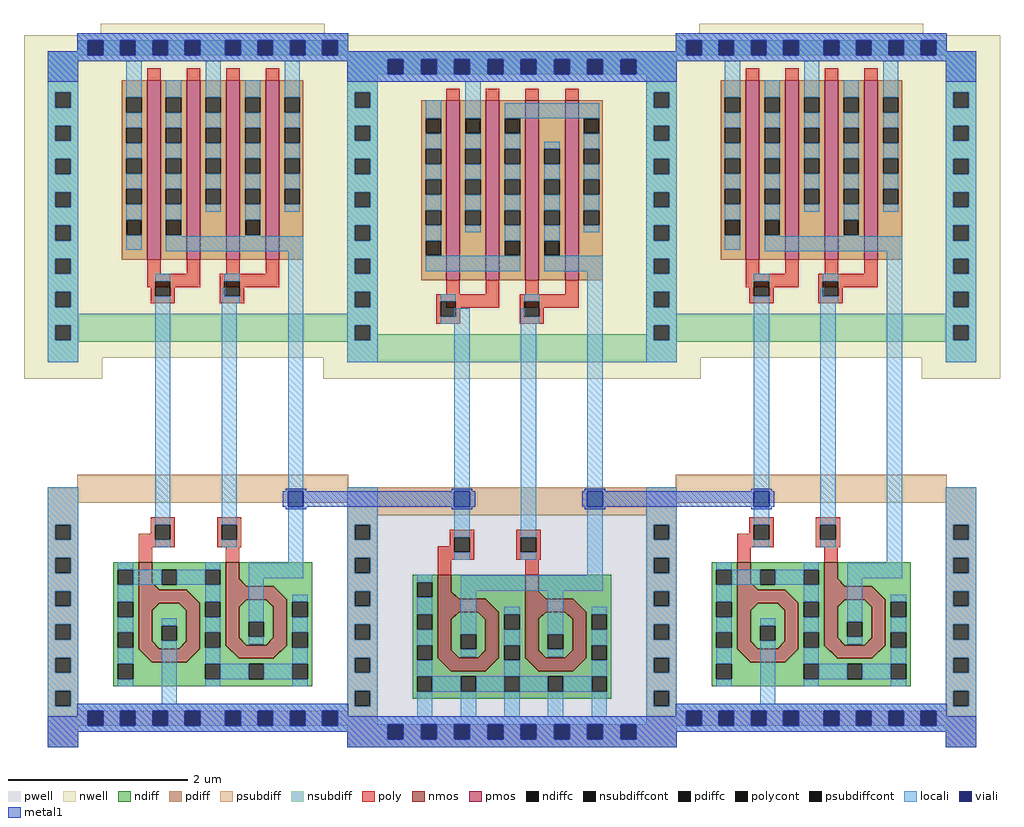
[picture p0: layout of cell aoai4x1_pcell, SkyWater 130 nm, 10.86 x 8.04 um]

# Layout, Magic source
magic
tech sky130A
magscale 1 2
<< metal1 >>
rect 537 501 841 535
rect 1203 501 1512 535
use nor2x1_pcell  nor2x1_pcell_0
transform 1 0 666 0 1 0
box -87 -34 753 1550
use nand2x1_pcell  nand2x1_pcell_1
transform 1 0 1332 0 1 0
box -87 -34 753 1550
use nand2x1_pcell  nand2x1_pcell_0
transform 1 0 0 0 1 0
box -87 -34 753 1550
use li1_M1_contact  li1_M1_contact_0
transform -1 0 518 0 -1 518
box -53 -33 29 33
use li1_M1_contact  li1_M1_contact_1
transform 1 0 888 0 1 518
box -53 -33 29 33
use li1_M1_contact  li1_M1_contact_2
transform -1 0 1184 0 -1 518
box -53 -33 29 33
use li1_M1_contact  li1_M1_contact_3
transform 1 0 1554 0 1 518
box -53 -33 29 33
<< end >>

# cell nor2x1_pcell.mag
magic
tech sky130A
magscale 1 2
<< nwell >>
rect 87 786 579 1550
<< pwell >>
rect 34 -34 632 544
<< pdiffc >>
rect 141 1331 175 1365
rect 229 1331 263 1365
rect 317 1331 351 1365
rect 493 1331 527 1365
rect 141 1059 175 1093
rect 317 1059 351 1093
rect 405 1059 439 1093
<< psubdiff >>
rect 34 482 632 544
rect 34 -17 57 17
rect 91 -17 131 17
rect 165 -17 205 17
rect 239 -17 279 17
rect 313 -17 353 17
rect 387 -17 427 17
rect 461 -17 501 17
rect 535 -17 575 17
rect 609 -17 632 17
rect 34 -34 632 -17
<< nsubdiff >>
rect 34 1497 632 1514
rect 34 1463 57 1497
rect 91 1463 131 1497
rect 165 1463 205 1497
rect 239 1463 279 1497
rect 313 1463 353 1497
rect 387 1463 427 1497
rect 461 1463 501 1497
rect 535 1463 575 1497
rect 609 1463 632 1497
rect 34 822 632 884
<< psubdiffcont >>
rect 57 -17 91 17
rect 131 -17 165 17
rect 205 -17 239 17
rect 279 -17 313 17
rect 353 -17 387 17
rect 427 -17 461 17
rect 501 -17 535 17
rect 575 -17 609 17
<< nsubdiffcont >>
rect 57 1463 91 1497
rect 131 1463 165 1497
rect 205 1463 239 1497
rect 279 1463 313 1497
rect 353 1463 387 1497
rect 427 1463 461 1497
rect 501 1463 535 1497
rect 575 1463 609 1497
<< poly >>
rect 168 375 198 413
rect 362 382 392 383
<< locali >>
rect 34 1497 632 1514
rect 34 1463 57 1497
rect 91 1463 131 1497
rect 165 1463 205 1497
rect 239 1463 279 1497
rect 313 1463 353 1497
rect 387 1463 427 1497
rect 461 1463 501 1497
rect 535 1463 575 1497
rect 609 1463 632 1497
rect 34 1446 632 1463
rect 141 1365 175 1405
rect 141 1313 175 1331
rect 229 1365 263 1446
rect 229 1313 263 1331
rect 317 1365 527 1399
rect 317 1313 351 1331
rect 493 1313 527 1331
rect 141 1093 175 1111
rect 317 1093 351 1111
rect 141 1025 351 1059
rect 405 1093 439 1111
rect 405 1025 535 1059
rect 205 433 239 942
rect 353 908 361 942
rect 353 441 387 908
rect 353 433 357 441
rect 501 348 535 1025
rect 219 314 535 348
rect 219 233 253 314
rect 413 233 447 314
rect 122 34 156 73
rect 219 34 253 89
rect 316 34 350 73
rect 413 34 447 89
rect 510 34 544 73
rect 34 17 632 34
rect 34 -17 57 17
rect 91 -17 131 17
rect 165 -17 205 17
rect 239 -17 279 17
rect 313 -17 353 17
rect 387 -17 427 17
rect 461 -17 501 17
rect 535 -17 575 17
rect 609 -17 632 17
rect 34 -34 632 -17
<< viali >>
rect 57 1463 91 1497
rect 131 1463 165 1497
rect 205 1463 239 1497
rect 279 1463 313 1497
rect 353 1463 387 1497
rect 427 1463 461 1497
rect 501 1463 535 1497
rect 575 1463 609 1497
rect 57 -17 91 17
rect 131 -17 165 17
rect 205 -17 239 17
rect 279 -17 313 17
rect 353 -17 387 17
rect 427 -17 461 17
rect 501 -17 535 17
rect 575 -17 609 17
<< metal1 >>
rect 34 1497 632 1514
rect 34 1463 57 1497
rect 91 1463 131 1497
rect 165 1463 205 1497
rect 239 1463 279 1497
rect 313 1463 353 1497
rect 387 1463 427 1497
rect 461 1463 501 1497
rect 535 1463 575 1497
rect 609 1463 632 1497
rect 34 1446 632 1463
rect 34 17 632 34
rect 34 -17 57 17
rect 91 -17 131 17
rect 165 -17 205 17
rect 239 -17 279 17
rect 313 -17 353 17
rect 387 -17 427 17
rect 461 -17 501 17
rect 535 -17 575 17
rect 609 -17 632 17
rect 34 -34 632 -17
use pmos2_1  pmos2_1_0
transform 1 0 43 0 1 1404
box 52 -460 352 37
use poly_li1_contact  poly_li1_contact_0
transform 0 1 192 -1 0 942
box -32 -28 34 26
use poly_li1_contact  poly_li1_contact_1
transform 0 1 223 -1 0 417
box -32 -28 34 26
use nmos_top_trim1  nmos_top_trim1_1
transform -1 0 360 0 1 73
box 0 0 248 309
use pmos2_1  pmos2_1_1
transform 1 0 219 0 1 1404
box 52 -460 352 37
use poly_li1_contact  poly_li1_contact_3
transform 0 1 378 -1 0 942
box -32 -28 34 26
use poly_li1_contact  poly_li1_contact_2
transform 0 -1 369 1 0 415
box -32 -28 34 26
use nmos_top_trim2  nmos_top_trim2_0
transform -1 0 554 0 1 73
box 0 0 248 309
use diff_ring_side  diff_ring_side_1
transform 1 0 0 0 1 0
box -87 -34 87 1550
use diff_ring_side  diff_ring_side_0
transform 1 0 666 0 1 0
box -87 -34 87 1550
<< end >>

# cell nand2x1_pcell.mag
magic
tech sky130A
magscale 1 2
<< nwell >>
rect 84 903 582 1575
rect 83 832 582 903
<< pdiffc >>
rect 141 1105 175 1139
rect 229 1105 263 1139
rect 405 1105 439 1139
<< psubdiff >>
rect 31 510 635 572
rect 31 13 55 47
rect 89 13 127 47
rect 161 13 199 47
rect 233 13 271 47
rect 305 13 361 47
rect 395 13 433 47
rect 467 13 505 47
rect 539 13 577 47
rect 611 13 635 47
<< nsubdiff >>
rect 31 1505 55 1539
rect 89 1505 127 1539
rect 161 1505 199 1539
rect 233 1505 271 1539
rect 305 1505 361 1539
rect 395 1505 433 1539
rect 467 1505 505 1539
rect 539 1505 577 1539
rect 611 1505 635 1539
rect 31 868 635 930
<< psubdiffcont >>
rect 55 13 89 47
rect 127 13 161 47
rect 199 13 233 47
rect 271 13 305 47
rect 361 13 395 47
rect 433 13 467 47
rect 505 13 539 47
rect 577 13 611 47
<< nsubdiffcont >>
rect 55 1505 89 1539
rect 127 1505 161 1539
rect 199 1505 233 1539
rect 271 1505 305 1539
rect 361 1505 395 1539
rect 433 1505 467 1539
rect 505 1505 539 1539
rect 577 1505 611 1539
<< poly >>
rect 168 403 198 441
rect 362 410 392 411
<< locali >>
rect 31 1539 635 1554
rect 31 1505 55 1539
rect 89 1505 127 1539
rect 161 1505 199 1539
rect 233 1505 271 1539
rect 305 1505 361 1539
rect 395 1505 433 1539
rect 467 1505 505 1539
rect 539 1505 577 1539
rect 611 1505 635 1539
rect 31 1492 635 1505
rect 141 1139 175 1157
rect 141 1073 175 1105
rect 229 1139 263 1157
rect 229 1103 263 1105
rect 405 1139 439 1157
rect 405 1103 439 1105
rect 229 1069 535 1103
rect 353 954 361 988
rect 205 461 239 954
rect 353 469 387 954
rect 353 461 357 469
rect 501 376 535 1069
rect 413 342 535 376
rect 413 261 447 342
rect 219 62 253 195
rect 31 47 635 62
rect 31 13 55 47
rect 89 13 127 47
rect 161 13 199 47
rect 233 13 271 47
rect 305 13 361 47
rect 395 13 433 47
rect 467 13 505 47
rect 539 13 577 47
rect 611 13 635 47
rect 31 0 635 13
<< viali >>
rect 55 1505 89 1539
rect 127 1505 161 1539
rect 199 1505 233 1539
rect 271 1505 305 1539
rect 361 1505 395 1539
rect 433 1505 467 1539
rect 505 1505 539 1539
rect 577 1505 611 1539
rect 55 13 89 47
rect 127 13 161 47
rect 199 13 233 47
rect 271 13 305 47
rect 361 13 395 47
rect 433 13 467 47
rect 505 13 539 47
rect 577 13 611 47
<< metal1 >>
rect 31 1539 635 1554
rect 31 1505 55 1539
rect 89 1505 127 1539
rect 161 1505 199 1539
rect 233 1505 271 1539
rect 305 1505 361 1539
rect 395 1505 433 1539
rect 467 1505 505 1539
rect 539 1505 577 1539
rect 611 1505 635 1539
rect 31 1492 635 1505
rect 31 47 635 62
rect 31 13 55 47
rect 89 13 127 47
rect 161 13 199 47
rect 233 13 271 47
rect 305 13 361 47
rect 395 13 433 47
rect 467 13 505 47
rect 539 13 577 47
rect 611 13 635 47
rect 31 0 635 13
use diff_ring_side  diff_ring_side_1
transform 1 0 0 0 1 0
box -84 0 84 1575
use nmos_bottom  nmos_bottom_0
transform -1 0 360 0 1 101
box 0 0 248 302
use poly_li1_contact  poly_li1_contact_0
transform 0 1 223 -1 0 987
box -32 -28 34 26
use poly_li1_contact  poly_li1_contact_1
transform 0 1 223 -1 0 445
box -32 -28 34 26
use pmos2  pmos2_0
transform 1 0 43 0 1 1450
box 52 -461 352 42
use poly_li1_contact  poly_li1_contact_3
transform 0 1 377 -1 0 987
box -32 -28 34 26
use poly_li1_contact  poly_li1_contact_2
transform 0 -1 369 1 0 443
box -32 -28 34 26
use pmos2  pmos2_1
transform 1 0 219 0 1 1450
box 52 -461 352 42
use nmos_top_trim1  nmos_top_trim1_0
transform -1 0 554 0 1 101
box 0 0 248 309
use diff_ring_side  diff_ring_side_0
transform 1 0 666 0 1 0
box -84 0 84 1575
<< end >>

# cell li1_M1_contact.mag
magic
tech sky130A
magscale 1 2
<< locali >>
rect -17 17 17 33
rect -17 -33 17 -17
<< viali >>
rect -17 -17 17 17
<< metal1 >>
rect -23 17 23 23
rect -53 -17 -17 17
rect 17 -17 29 17
rect -23 -23 23 -17
<< end >>

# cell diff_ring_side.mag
magic
tech sky130A
magscale 1 2
<< nwell >>
rect -87 786 87 1550
<< pwell >>
rect -34 -34 34 544
<< psubdiff >>
rect -34 461 34 544
rect -34 427 -17 461
rect 17 427 34 461
rect -34 387 34 427
rect -34 353 -17 387
rect 17 353 34 387
rect -34 313 34 353
rect -34 279 -17 313
rect 17 279 34 313
rect -34 239 34 279
rect -34 205 -17 239
rect 17 205 34 239
rect -34 165 34 205
rect -34 131 -17 165
rect 17 131 34 165
rect -34 91 34 131
rect -34 57 -17 91
rect 17 57 34 91
rect -34 -34 34 57
<< nsubdiff >>
rect -34 1423 34 1514
rect -34 1389 -17 1423
rect 17 1389 34 1423
rect -34 1349 34 1389
rect -34 1315 -17 1349
rect 17 1315 34 1349
rect -34 1275 34 1315
rect -34 1241 -17 1275
rect 17 1241 34 1275
rect -34 1201 34 1241
rect -34 1167 -17 1201
rect 17 1167 34 1201
rect -34 1127 34 1167
rect -34 1093 -17 1127
rect 17 1093 34 1127
rect -34 1053 34 1093
rect -34 1019 -17 1053
rect 17 1019 34 1053
rect -34 979 34 1019
rect -34 945 -17 979
rect 17 945 34 979
rect -34 905 34 945
rect -34 871 -17 905
rect 17 871 34 905
rect -34 822 34 871
<< psubdiffcont >>
rect -17 427 17 461
rect -17 353 17 387
rect -17 279 17 313
rect -17 205 17 239
rect -17 131 17 165
rect -17 57 17 91
<< nsubdiffcont >>
rect -17 1389 17 1423
rect -17 1315 17 1349
rect -17 1241 17 1275
rect -17 1167 17 1201
rect -17 1093 17 1127
rect -17 1019 17 1053
rect -17 945 17 979
rect -17 871 17 905
<< locali >>
rect -34 1423 34 1514
rect -34 1389 -17 1423
rect 17 1389 34 1423
rect -34 1349 34 1389
rect -34 1315 -17 1349
rect 17 1315 34 1349
rect -34 1275 34 1315
rect -34 1241 -17 1275
rect 17 1241 34 1275
rect -34 1201 34 1241
rect -34 1167 -17 1201
rect 17 1167 34 1201
rect -34 1127 34 1167
rect -34 1093 -17 1127
rect 17 1093 34 1127
rect -34 1053 34 1093
rect -34 1019 -17 1053
rect 17 1019 34 1053
rect -34 979 34 1019
rect -34 945 -17 979
rect 17 945 34 979
rect -34 905 34 945
rect -34 871 -17 905
rect 17 871 34 905
rect -34 822 34 871
rect -34 461 34 544
rect -34 427 -17 461
rect 17 427 34 461
rect -34 387 34 427
rect -34 353 -17 387
rect 17 353 34 387
rect -34 313 34 353
rect -34 279 -17 313
rect 17 279 34 313
rect -34 239 34 279
rect -34 205 -17 239
rect 17 205 34 239
rect -34 165 34 205
rect -34 131 -17 165
rect 17 131 34 165
rect -34 91 34 131
rect -34 57 -17 91
rect 17 57 34 91
rect -34 -34 34 57
<< metal1 >>
rect -34 1446 34 1514
rect -34 -34 34 34
<< end >>

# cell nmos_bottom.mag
magic
tech sky130A
magscale 1 2
<< nmos >>
tri 146 215 162 231 se
rect 162 215 192 276
tri 56 185 86 215 se
rect 86 185 192 215
rect 56 84 86 185
tri 86 169 102 185 nw
tri 146 169 162 185 ne
tri 86 84 102 100 sw
tri 146 84 162 100 se
rect 162 84 192 185
tri 56 54 86 84 ne
rect 86 54 162 84
tri 162 54 192 84 nw
<< ndiff >>
rect 0 260 162 276
rect 0 226 10 260
rect 44 226 107 260
rect 141 231 162 260
rect 141 226 146 231
rect 0 215 146 226
tri 146 215 162 231 nw
rect 192 260 248 276
rect 192 226 204 260
rect 238 226 248 260
rect 0 188 56 215
rect 0 154 10 188
rect 44 154 56 188
tri 56 185 86 215 nw
rect 192 188 248 226
rect 0 120 56 154
rect 0 86 10 120
rect 44 86 56 120
rect 0 54 56 86
tri 86 169 102 185 se
rect 102 169 146 185
tri 146 169 162 185 sw
rect 86 135 162 169
rect 86 101 107 135
rect 141 101 162 135
rect 86 100 162 101
tri 86 84 102 100 ne
rect 102 84 146 100
tri 146 84 162 100 nw
rect 192 154 204 188
rect 238 154 248 188
rect 192 120 248 154
rect 192 86 204 120
rect 238 86 248 120
tri 56 54 86 84 sw
tri 162 54 192 84 se
rect 192 54 248 86
rect 0 50 248 54
rect 0 16 10 50
rect 44 16 204 50
rect 238 16 248 50
rect 0 0 248 16
<< ndiffc >>
rect 10 226 44 260
rect 107 226 141 260
rect 204 226 238 260
rect 10 154 44 188
rect 10 86 44 120
rect 107 101 141 135
rect 204 154 238 188
rect 204 86 238 120
rect 10 16 44 50
rect 204 16 238 50
<< poly >>
rect 162 276 192 302
<< locali >>
rect 10 260 44 276
rect 204 260 238 276
rect 44 226 107 260
rect 141 226 204 260
rect 10 188 44 226
rect 10 120 44 154
rect 204 188 238 226
rect 10 50 44 86
rect 107 135 141 151
rect 107 85 141 101
rect 204 120 238 154
rect 10 0 44 16
rect 204 50 238 86
rect 204 0 238 16
<< end >>

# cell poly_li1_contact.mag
magic
tech sky130A
<< poly >>
rect -16 8 17 13
rect -16 -9 -8 8
rect 9 -9 17 8
rect -16 -14 17 -9
<< polycont >>
rect -8 -9 9 8
<< locali >>
rect -16 -9 -8 8
rect 9 -9 17 8
<< end >>

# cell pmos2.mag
magic
tech sky130A
magscale 1 2
<< nwell >>
rect 52 -436 352 36
<< pmos >>
rect 144 -400 174 0
rect 232 -400 262 0
<< pdiff >>
rect 88 -38 144 0
rect 88 -72 98 -38
rect 132 -72 144 -38
rect 88 -106 144 -72
rect 88 -140 98 -106
rect 132 -140 144 -106
rect 88 -174 144 -140
rect 88 -208 98 -174
rect 132 -208 144 -174
rect 88 -242 144 -208
rect 88 -276 98 -242
rect 132 -276 144 -242
rect 88 -400 144 -276
rect 174 -38 232 0
rect 174 -72 186 -38
rect 220 -72 232 -38
rect 174 -106 232 -72
rect 174 -140 186 -106
rect 220 -140 232 -106
rect 174 -174 232 -140
rect 174 -208 186 -174
rect 220 -208 232 -174
rect 174 -242 232 -208
rect 174 -276 186 -242
rect 220 -276 232 -242
rect 174 -400 232 -276
rect 262 -38 316 0
rect 262 -72 274 -38
rect 308 -72 316 -38
rect 262 -106 316 -72
rect 262 -140 274 -106
rect 308 -140 316 -106
rect 262 -174 316 -140
rect 262 -208 274 -174
rect 308 -208 316 -174
rect 262 -242 316 -208
rect 262 -276 274 -242
rect 308 -276 316 -242
rect 262 -400 316 -276
<< pdiffc >>
rect 98 -72 132 -38
rect 98 -140 132 -106
rect 98 -208 132 -174
rect 98 -276 132 -242
rect 186 -72 220 -38
rect 186 -140 220 -106
rect 186 -208 220 -174
rect 186 -276 220 -242
rect 274 -72 308 -38
rect 274 -140 308 -106
rect 274 -208 308 -174
rect 274 -276 308 -242
<< poly >>
rect 144 0 174 26
rect 232 0 262 26
rect 144 -431 174 -400
rect 232 -431 262 -400
rect 144 -461 262 -431
<< locali >>
rect 98 -38 132 42
rect 98 -106 132 -72
rect 98 -174 132 -140
rect 98 -242 132 -208
rect 98 -293 132 -276
rect 186 -38 220 0
rect 186 -106 220 -72
rect 186 -174 220 -140
rect 186 -242 220 -208
rect 186 -293 220 -276
rect 274 -38 308 42
rect 274 -106 308 -72
rect 274 -174 308 -140
rect 274 -242 308 -208
rect 274 -293 308 -276
<< end >>

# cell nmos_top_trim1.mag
magic
tech sky130A
magscale 1 2
<< nmos >>
tri 146 223 162 239 se
rect 162 223 192 276
tri 56 193 86 223 se
rect 86 193 192 223
rect 56 92 86 193
tri 86 177 102 193 nw
tri 146 177 162 193 ne
tri 86 92 102 108 sw
tri 146 92 162 108 se
rect 162 92 192 193
tri 56 62 86 92 ne
rect 86 62 162 92
tri 162 62 192 92 nw
<< ndiff >>
rect 0 239 162 276
rect 0 223 146 239
tri 146 223 162 239 nw
rect 192 260 248 276
rect 192 226 204 260
rect 238 226 248 260
rect 0 188 56 223
tri 56 193 86 223 nw
rect 0 154 10 188
rect 44 154 56 188
rect 0 120 56 154
rect 0 86 10 120
rect 44 86 56 120
tri 86 177 102 193 se
rect 102 177 146 193
tri 146 177 162 193 sw
rect 86 144 162 177
rect 86 110 107 144
rect 141 110 162 144
rect 86 108 162 110
tri 86 92 102 108 ne
rect 102 92 146 108
tri 146 92 162 108 nw
rect 192 188 248 226
rect 192 154 204 188
rect 238 154 248 188
rect 192 120 248 154
rect 0 62 56 86
tri 56 62 86 92 sw
tri 162 62 192 92 se
rect 192 86 204 120
rect 238 86 248 120
rect 192 62 248 86
rect 0 50 248 62
rect 0 16 10 50
rect 44 16 107 50
rect 141 16 204 50
rect 238 16 248 50
rect 0 0 248 16
<< ndiffc >>
rect 204 226 238 260
rect 10 154 44 188
rect 10 86 44 120
rect 107 110 141 144
rect 204 154 238 188
rect 204 86 238 120
rect 10 16 44 50
rect 107 16 141 50
rect 204 16 238 50
<< poly >>
rect 162 276 192 309
<< locali >>
rect 204 260 238 276
rect 10 188 44 204
rect 204 188 238 226
rect 10 120 44 154
rect 107 144 141 161
rect 107 94 141 110
rect 204 120 238 154
rect 10 50 44 86
rect 204 50 238 86
rect 44 16 107 50
rect 141 16 204 50
rect 10 0 44 16
rect 204 0 238 16
<< end >>

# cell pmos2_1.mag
magic
tech sky130A
magscale 1 2
<< nwell >>
rect 52 -435 352 37
<< pmos >>
rect 144 -399 174 1
rect 232 -399 262 1
<< pdiff >>
rect 88 -107 144 1
rect 88 -141 98 -107
rect 132 -141 144 -107
rect 88 -175 144 -141
rect 88 -209 98 -175
rect 132 -209 144 -175
rect 88 -243 144 -209
rect 88 -277 98 -243
rect 132 -277 144 -243
rect 88 -399 144 -277
rect 174 -107 232 1
rect 174 -141 186 -107
rect 220 -141 232 -107
rect 174 -175 232 -141
rect 174 -209 186 -175
rect 220 -209 232 -175
rect 174 -243 232 -209
rect 174 -277 186 -243
rect 220 -277 232 -243
rect 174 -399 232 -277
rect 262 -107 316 1
rect 262 -141 274 -107
rect 308 -141 316 -107
rect 262 -175 316 -141
rect 262 -209 274 -175
rect 308 -209 316 -175
rect 262 -243 316 -209
rect 262 -277 274 -243
rect 308 -277 316 -243
rect 262 -399 316 -277
<< pdiffc >>
rect 98 -141 132 -107
rect 98 -209 132 -175
rect 98 -277 132 -243
rect 186 -141 220 -107
rect 186 -209 220 -175
rect 186 -277 220 -243
rect 274 -141 308 -107
rect 274 -209 308 -175
rect 274 -277 308 -243
<< poly >>
rect 144 1 174 27
rect 232 1 262 27
rect 144 -430 174 -399
rect 232 -430 262 -399
rect 144 -460 262 -430
<< locali >>
rect 98 -107 132 -91
rect 98 -175 132 -141
rect 98 -243 132 -209
rect 98 -293 132 -277
rect 186 -107 220 -91
rect 186 -175 220 -141
rect 186 -243 220 -209
rect 186 -293 220 -277
rect 274 -107 308 -91
rect 274 -175 308 -141
rect 274 -243 308 -209
rect 274 -293 308 -277
<< end >>

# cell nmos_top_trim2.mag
magic
tech sky130A
magscale 1 2
<< nmos >>
tri 146 223 162 239 se
rect 162 223 192 276
tri 56 193 86 223 se
rect 86 193 192 223
rect 56 178 87 193
tri 87 178 102 193 nw
tri 146 178 161 193 ne
rect 161 178 192 193
rect 56 92 86 178
tri 86 92 102 108 sw
tri 146 92 162 108 se
rect 162 92 192 178
tri 56 62 86 92 ne
rect 86 62 162 92
tri 162 62 192 92 nw
<< ndiff >>
rect 0 239 162 276
rect 0 223 146 239
tri 146 223 162 239 nw
rect 0 188 56 223
tri 56 193 86 223 nw
rect 0 154 10 188
rect 44 154 56 188
tri 87 178 102 193 se
rect 102 178 146 193
tri 146 178 161 193 sw
rect 192 188 248 276
rect 0 120 56 154
rect 0 86 10 120
rect 44 86 56 120
rect 86 144 162 178
rect 86 110 107 144
rect 141 110 162 144
rect 86 108 162 110
tri 86 92 102 108 ne
rect 102 92 146 108
tri 146 92 162 108 nw
rect 192 154 204 188
rect 238 154 248 188
rect 192 120 248 154
rect 0 62 56 86
tri 56 62 86 92 sw
tri 162 62 192 92 se
rect 192 86 204 120
rect 238 86 248 120
rect 192 62 248 86
rect 0 50 248 62
rect 0 16 10 50
rect 44 16 107 50
rect 141 16 204 50
rect 238 16 248 50
rect 0 0 248 16
<< ndiffc >>
rect 10 154 44 188
rect 10 86 44 120
rect 107 110 141 144
rect 204 154 238 188
rect 204 86 238 120
rect 10 16 44 50
rect 107 16 141 50
rect 204 16 238 50
<< poly >>
rect 162 276 192 309
<< locali >>
rect 10 188 44 205
rect 204 188 238 205
rect 10 120 44 154
rect 107 144 141 161
rect 107 94 141 110
rect 204 120 238 154
rect 10 50 44 86
rect 204 50 238 86
rect 44 16 107 50
rect 141 16 204 50
rect 10 0 44 16
rect 204 0 238 16
<< end >>
